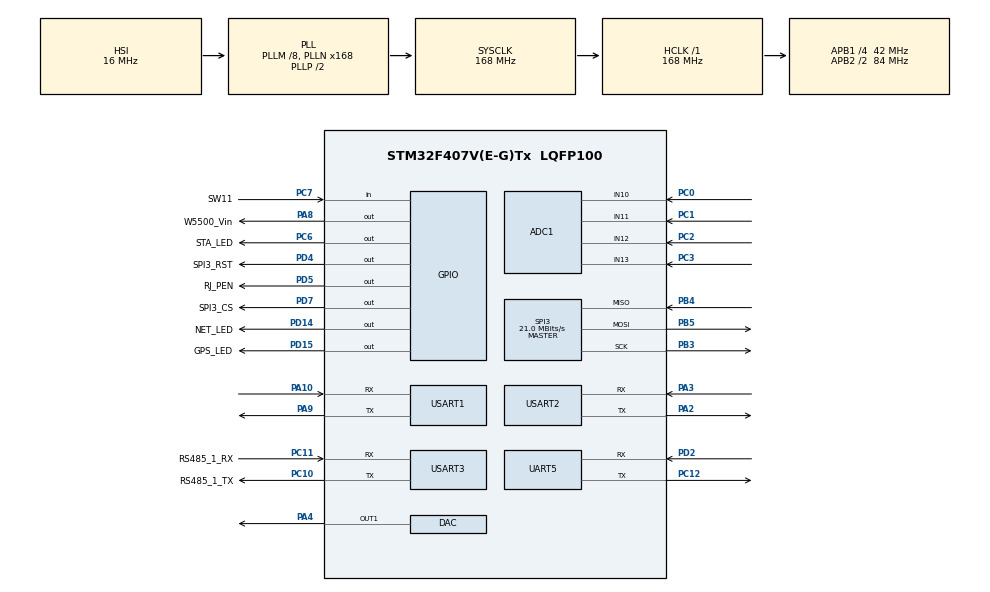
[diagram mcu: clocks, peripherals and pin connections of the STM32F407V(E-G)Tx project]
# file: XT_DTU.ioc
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ADC1.Channel-0\#ChannelRegularConversion=ADC_CHANNEL_10
ADC1.NbrOfConversionFlag=1
ADC1.Rank-0\#ChannelRegularConversion=1
ADC1.SamplingTime-0\#ChannelRegularConversion=ADC_SAMPLETIME_3CYCLES
ADC1.master=1
Dma.Request0=USART1_RX
Dma.Request1=USART1_TX
Dma.Request2=USART2_RX
Dma.Request3=USART2_TX
Dma.Request4=USART3_RX
Dma.Request5=UART5_RX
Dma.Request6=USART3_TX
Dma.UART5_RX.5.Direction=DMA_PERIPH_TO_MEMORY
Dma.UART5_RX.5.FIFOMode=DMA_FIFOMODE_DISABLE
Dma.UART5_RX.5.Instance=DMA1_Stream0
Dma.UART5_RX.5.MemDataAlignment=DMA_MDATAALIGN_BYTE
Dma.UART5_RX.5.MemInc=DMA_MINC_ENABLE
Dma.UART5_RX.5.Mode=DMA_NORMAL
Dma.UART5_RX.5.PeriphDataAlignment=DMA_PDATAALIGN_BYTE
Dma.UART5_RX.5.PeriphInc=DMA_PINC_DISABLE
Dma.UART5_RX.5.Priority=DMA_PRIORITY_LOW
Dma.USART1_RX.0.Direction=DMA_PERIPH_TO_MEMORY
Dma.USART1_RX.0.FIFOMode=DMA_FIFOMODE_DISABLE
Dma.USART1_RX.0.Instance=DMA2_Stream2
Dma.USART1_RX.0.MemDataAlignment=DMA_MDATAALIGN_BYTE
Dma.USART1_RX.0.MemInc=DMA_MINC_ENABLE
Dma.USART1_RX.0.Mode=DMA_NORMAL
Dma.USART1_RX.0.PeriphDataAlignment=DMA_PDATAALIGN_BYTE
Dma.USART1_RX.0.PeriphInc=DMA_PINC_DISABLE
Dma.USART1_RX.0.Priority=DMA_PRIORITY_LOW
Dma.USART1_TX.1.Direction=DMA_MEMORY_TO_PERIPH
Dma.USART1_TX.1.FIFOMode=DMA_FIFOMODE_DISABLE
Dma.USART1_TX.1.Instance=DMA2_Stream7
Dma.USART1_TX.1.MemDataAlignment=DMA_MDATAALIGN_BYTE
Dma.USART1_TX.1.MemInc=DMA_MINC_ENABLE
Dma.USART1_TX.1.Mode=DMA_NORMAL
Dma.USART1_TX.1.PeriphDataAlignment=DMA_PDATAALIGN_BYTE
Dma.USART1_TX.1.PeriphInc=DMA_PINC_DISABLE
Dma.USART1_TX.1.Priority=DMA_PRIORITY_LOW
Dma.USART2_RX.2.Direction=DMA_PERIPH_TO_MEMORY
Dma.USART2_RX.2.FIFOMode=DMA_FIFOMODE_DISABLE
Dma.USART2_RX.2.Instance=DMA1_Stream5
Dma.USART2_RX.2.MemDataAlignment=DMA_MDATAALIGN_BYTE
Dma.USART2_RX.2.MemInc=DMA_MINC_ENABLE
Dma.USART2_RX.2.Mode=DMA_NORMAL
Dma.USART2_RX.2.PeriphDataAlignment=DMA_PDATAALIGN_BYTE
Dma.USART2_RX.2.PeriphInc=DMA_PINC_DISABLE
Dma.USART2_RX.2.Priority=DMA_PRIORITY_LOW
Dma.USART2_TX.3.Direction=DMA_MEMORY_TO_PERIPH
Dma.USART2_TX.3.FIFOMode=DMA_FIFOMODE_DISABLE
Dma.USART2_TX.3.Instance=DMA1_Stream6
Dma.USART2_TX.3.MemDataAlignment=DMA_MDATAALIGN_BYTE
Dma.USART2_TX.3.MemInc=DMA_MINC_ENABLE
Dma.USART2_TX.3.Mode=DMA_NORMAL
Dma.USART2_TX.3.PeriphDataAlignment=DMA_PDATAALIGN_BYTE
Dma.USART2_TX.3.PeriphInc=DMA_PINC_DISABLE
Dma.USART2_TX.3.Priority=DMA_PRIORITY_LOW
Dma.USART3_RX.4.Direction=DMA_PERIPH_TO_MEMORY
Dma.USART3_RX.4.FIFOMode=DMA_FIFOMODE_DISABLE
Dma.USART3_RX.4.Instance=DMA1_Stream1
Dma.USART3_RX.4.MemDataAlignment=DMA_MDATAALIGN_BYTE
Dma.USART3_RX.4.MemInc=DMA_MINC_ENABLE
Dma.USART3_RX.4.Mode=DMA_NORMAL
Dma.USART3_RX.4.PeriphDataAlignment=DMA_PDATAALIGN_BYTE
Dma.USART3_RX.4.PeriphInc=DMA_PINC_DISABLE
Dma.USART3_RX.4.Priority=DMA_PRIORITY_LOW
Dma.USART3_TX.6.Direction=DMA_MEMORY_TO_PERIPH
Dma.USART3_TX.6.FIFOMode=DMA_FIFOMODE_DISABLE
Dma.USART3_TX.6.Instance=DMA1_Stream3
Dma.USART3_TX.6.MemDataAlignment=DMA_MDATAALIGN_BYTE
Dma.USART3_TX.6.MemInc=DMA_MINC_ENABLE
Dma.USART3_TX.6.Mode=DMA_NORMAL
Dma.USART3_TX.6.PeriphDataAlignment=DMA_PDATAALIGN_BYTE
Dma.USART3_TX.6.PeriphInc=DMA_PINC_DISABLE
Dma.USART3_TX.6.Priority=DMA_PRIORITY_LOW
FREERTOS.Tasks01=defaultTask,0,128,StartDefaultTask,Default,NULL,Dynamic,NULL,NULL;DataTask,-3,128,StartTask02,Default,NULL,Dynamic,NULL,NULL
Mcu.Family=STM32F4
Mcu.Name=STM32F407V(E-G)Tx
Mcu.Package=LQFP100
NVIC.DMA1_Stream0_IRQn=true\:5\:0\:false\:false\:true\:true\:false\:true\:true
NVIC.DMA1_Stream1_IRQn=true\:5\:0\:false\:false\:true\:true\:false\:true\:true
NVIC.DMA1_Stream3_IRQn=true\:5\:0\:false\:false\:true\:true\:false\:true\:true
NVIC.DMA1_Stream5_IRQn=true\:5\:0\:false\:false\:true\:true\:false\:true\:true
NVIC.DMA1_Stream6_IRQn=true\:5\:0\:false\:false\:true\:true\:false\:true\:true
NVIC.DMA2_Stream2_IRQn=true\:5\:0\:false\:false\:true\:true\:false\:true\:true
NVIC.DMA2_Stream7_IRQn=true\:5\:0\:false\:false\:true\:true\:false\:true\:true
NVIC.PriorityGroup=NVIC_PRIORITYGROUP_4
NVIC.SPI3_IRQn=true\:5\:0\:false\:false\:true\:true\:true\:true\:true
NVIC.TIM2_IRQn=true\:5\:0\:false\:false\:true\:true\:true\:true\:true
NVIC.TIM4_IRQn=true\:5\:0\:false\:false\:true\:true\:true\:true\:true
NVIC.UART5_IRQn=true\:5\:0\:false\:false\:true\:true\:true\:true\:true
NVIC.USART1_IRQn=true\:5\:0\:false\:false\:true\:true\:true\:true\:true
NVIC.USART2_IRQn=true\:5\:0\:false\:false\:true\:true\:true\:true\:true
NVIC.USART3_IRQn=true\:5\:0\:false\:false\:true\:true\:true\:true\:true
PA10.Mode=Asynchronous
PA10.Signal=USART1_RX
PA13.Mode=Serial_Wire
PA13.Signal=SYS_JTMS-SWDIO
PA14.Mode=Serial_Wire
PA14.Signal=SYS_JTCK-SWCLK
PA2.Mode=Asynchronous
PA2.Signal=USART2_TX
PA3.Mode=Asynchronous
PA3.Signal=USART2_RX
PA4.Signal=COMP_DAC1_group
PA8.GPIO_Label=W5500_Vin
PA8.Signal=GPIO_Output
PA9.Mode=Asynchronous
PA9.Signal=USART1_TX
PB3.Mode=Full_Duplex_Master
PB3.Signal=SPI3_SCK
PB4.Mode=Full_Duplex_Master
PB4.Signal=SPI3_MISO
PB5.Mode=Full_Duplex_Master
PB5.Signal=SPI3_MOSI
PC0.Signal=ADCx_IN10
PC1.Signal=ADCx_IN11
PC10.GPIO_Label=RS485_1_TX
PC10.Mode=Asynchronous
PC10.Signal=USART3_TX
PC11.GPIO_Label=RS485_1_RX
PC11.Mode=Asynchronous
PC11.Signal=USART3_RX
PC12.Mode=Asynchronous
PC12.Signal=UART5_TX
PC14-OSC32_IN.Mode=LSE-External-Oscillator
PC14-OSC32_IN.Signal=RCC_OSC32_IN
PC15-OSC32_OUT.Mode=LSE-External-Oscillator
PC15-OSC32_OUT.Signal=RCC_OSC32_OUT
PC2.Signal=ADCx_IN12
PC3.Signal=ADCx_IN13
PC6.GPIO_Label=STA_LED
PC6.Signal=GPIO_Output
PC7.GPIO_Label=SW11
PC7.Signal=GPIO_Input
PD14.GPIO_Label=NET_LED
PD14.Signal=GPIO_Output
PD15.GPIO_Label=GPS_LED
PD15.Signal=GPIO_Output
PD2.Mode=Asynchronous
PD2.Signal=UART5_RX
PD4.GPIO_Label=SPI3_RST
PD4.Signal=GPIO_Output
PD5.GPIO_Label=RJ_PEN
PD5.Signal=GPIO_Output
PD7.GPIO_Label=SPI3_CS
PD7.Signal=GPIO_Output
PH0-OSC_IN.Mode=HSE-External-Oscillator
PH0-OSC_IN.Signal=RCC_OSC_IN
PH1-OSC_OUT.Mode=HSE-External-Oscillator
PH1-OSC_OUT.Signal=RCC_OSC_OUT
ProjectManager.HeapSize=0x200
ProjectManager.StackSize=0x400
ProjectManager.TargetToolchain=MDK-ARM V5.32
RCC.48MHZClocksFreq_Value=84000000
RCC.AHBFreq_Value=168000000
RCC.APB1CLKDivider=RCC_HCLK_DIV4
RCC.APB1Freq_Value=42000000
RCC.APB1TimFreq_Value=84000000
RCC.APB2CLKDivider=RCC_HCLK_DIV2
RCC.APB2Freq_Value=84000000
RCC.APB2TimFreq_Value=168000000
RCC.CortexFreq_Value=168000000
RCC.HCLKFreq_Value=168000000
RCC.HSE_VALUE=25000000
RCC.HSI_VALUE=16000000
RCC.PLLM=8
RCC.PLLN=168
RCC.SYSCLKFreq_VALUE=168000000
RCC.SYSCLKSource=RCC_SYSCLKSOURCE_PLLCLK
RCC.VCOOutputFreq_Value=336000000
SH.ADCx_IN10.0=ADC1_IN10,IN10
SH.ADCx_IN11.0=ADC1_IN11,IN11
SH.ADCx_IN12.0=ADC1_IN12,IN12
SH.ADCx_IN13.0=ADC1_IN13,IN13
SH.COMP_DAC1_group.0=DAC_OUT1,DAC_OUT1
SPI3.BaudRatePrescaler=SPI_BAUDRATEPRESCALER_2
SPI3.CalculateBaudRate=21.0 MBits/s
SPI3.Direction=SPI_DIRECTION_2LINES
SPI3.Mode=SPI_MODE_MASTER
SPI3.VirtualType=VM_MASTER
TIM2.AutoReloadPreload=TIM_AUTORELOAD_PRELOAD_ENABLE
TIM2.Period=9999
TIM2.Prescaler=8399
TIM4.AutoReloadPreload=TIM_AUTORELOAD_PRELOAD_ENABLE
TIM4.Period=9999
TIM4.Prescaler=8399
UART5.VirtualMode=Asynchronous
USART1.VirtualMode=VM_ASYNC
USART2.VirtualMode=VM_ASYNC
USART3.VirtualMode=VM_ASYNC
VP_FREERTOS_VS_CMSIS_V1.Mode=CMSIS_V1
VP_TIM2_VS_ClockSourceINT.Mode=Internal
VP_TIM4_VS_ClockSourceINT.Mode=Internal
board=custom

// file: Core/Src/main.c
/* USER CODE BEGIN Header */
/**
  ******************************************************************************
  * @file           : main.c
  * @brief          : Main program body
  ******************************************************************************
  * @attention
  *
  * Copyright (c) 2023 STMicroelectronics.
  * All rights reserved.
  *
  * This software is licensed under terms that can be found in the LICENSE file
  * in the root directory of this software component.
  * If no LICENSE file comes with this software, it is provided AS-IS.
  *
  ******************************************************************************
  */
/* USER CODE END Header */
#include "main.h"
#include "cmsis_os.h"
#include "adc.h"
#include "dac.h"
#include "dma.h"
#include "spi.h"
#include "tim.h"
#include "usart.h"
#include "gpio.h"

/* USER CODE BEGIN Includes */
#include "wizchip_conf.h"
#include "board_config.h"
#include "socket.h"
#include "RS485.h"
#include "ztn_mqtt.h"
#include "modbus.h"
#include "ec800n.h"
#include "delay.h"
#include "xt_task.h"
uint8_t RS485_2_BUFF[MAX_NUMBER];
uint8_t Uart_4g_End;
uint8_t RECV_4G_BUFF[512];
Encode_Data Data_485;
decode_data Decode_485data;
uint8_t USART3_RX_END_FLAG;
/* USER CODE END Includes */

void SystemClock_Config(void);
void MX_FREERTOS_Init(void);

/* USER CODE BEGIN 0 */
void W5500_Tcp_client(void);
void DNS_Test(void);
uint8_t web_wait_flag;
uint8_t modbus_send_buf[9][8] = {{0x01 , 0x03 , 0x00 , 0x00 , 0x00 , 0x0F , 0x05 , 0xCE},
																	{0x01 , 0x03 , 0x01 , 0x01 , 0x00 , 0x0A , 0x95 , 0xF1},
																	{0x01 , 0x03 , 0x02 , 0x01 , 0x00 , 0x17 , 0x55 , 0xBC},
																	{0x01 , 0x03 , 0x03 , 0x01 , 0x00 , 0x0F , 0x54 , 0x4A},
																	{0x01 , 0x03 , 0x04 , 0x01 , 0x00 , 0x10 , 0x14 , 0xF6},
																	{0x01 , 0x03 , 0x07 , 0x01 , 0x00 , 0x06 , 0x95 , 0x7C},
																	{0x01 , 0x03 , 0x08 , 0x01 , 0x00 , 0x12 , 0x96 , 0x67},
																	{0x01 , 0x03 , 0x09 , 0x01 , 0x00 , 0x0C , 0x17 , 0x93},
																	{0x01 , 0x03 , 0x0A , 0x01 , 0x00 , 0xAC , 0x17 , 0xAF}};
int tim_count = 0;
/* USER CODE END 0 */

int main(void)
{

  /* MCU Configuration--------------------------------------------------------*/

  /* Reset of all peripherals, Initializes the Flash interface and the Systick. */
  HAL_Init();

  /* Configure the system clock */
  SystemClock_Config();

  /* Initialize all configured peripherals */
  MX_GPIO_Init();
  MX_DMA_Init();
  MX_SPI3_Init();
  MX_USART1_UART_Init();
  MX_USART2_UART_Init();
  MX_USART3_UART_Init();
  MX_UART5_Init();
  MX_ADC1_Init();
  MX_DAC_Init();
  MX_TIM2_Init();
  MX_TIM4_Init();
  /* USER CODE BEGIN 2 */
	USART3_RX_END_FLAG = 1;
	web_wait_flag = 0;
	if (isFirstBoot())
  {
		printf("first boot\r\n");
  }
	Board_config_init();
	Config_Printf();
	HAL_UART_Receive_IT(&huart3, RS485_2_BUFF , sizeof(RS485_2_BUFF));
	HAL_UART_Receive_IT(&huart2, RECV_4G_BUFF , sizeof(RECV_4G_BUFF));

	Data_init();
	xt_task_init();
  /* USER CODE END 2 */

  /* Call init function for freertos objects (in freertos.c) */
  MX_FREERTOS_Init();

  /* Start scheduler */
  osKernelStart();

  /* We should never get here as control is now taken by the scheduler */
  /* Infinite loop */
  while (1)
  {

  }
}

void SystemClock_Config(void)
{
  RCC_OscInitTypeDef RCC_OscInitStruct = {0};
  RCC_ClkInitTypeDef RCC_ClkInitStruct = {0};

  /** Configure the main internal regulator output voltage
  */
  __HAL_RCC_PWR_CLK_ENABLE();
  __HAL_PWR_VOLTAGESCALING_CONFIG(PWR_REGULATOR_VOLTAGE_SCALE1);

  /** Initializes the RCC Oscillators according to the specified parameters
  * in the RCC_OscInitTypeDef structure.
  */
  RCC_OscInitStruct.OscillatorType = RCC_OSCILLATORTYPE_HSI;
  RCC_OscInitStruct.HSIState = RCC_HSI_ON;
  RCC_OscInitStruct.HSICalibrationValue = RCC_HSICALIBRATION_DEFAULT;
  RCC_OscInitStruct.PLL.PLLState = RCC_PLL_ON;
  RCC_OscInitStruct.PLL.PLLSource = RCC_PLLSOURCE_HSI;
  RCC_OscInitStruct.PLL.PLLM = 8;
  RCC_OscInitStruct.PLL.PLLN = 168;
  RCC_OscInitStruct.PLL.PLLP = RCC_PLLP_DIV2;
  RCC_OscInitStruct.PLL.PLLQ = 4;
  if (HAL_RCC_OscConfig(&RCC_OscInitStruct) != HAL_OK)
  {
    Error_Handler();
  }

  /** Initializes the CPU, AHB and APB buses clocks
  */
  RCC_ClkInitStruct.ClockType = RCC_CLOCKTYPE_HCLK|RCC_CLOCKTYPE_SYSCLK
                              |RCC_CLOCKTYPE_PCLK1|RCC_CLOCKTYPE_PCLK2;
  RCC_ClkInitStruct.SYSCLKSource = RCC_SYSCLKSOURCE_PLLCLK;
  RCC_ClkInitStruct.AHBCLKDivider = RCC_SYSCLK_DIV1;
  RCC_ClkInitStruct.APB1CLKDivider = RCC_HCLK_DIV4;
  RCC_ClkInitStruct.APB2CLKDivider = RCC_HCLK_DIV2;

  if (HAL_RCC_ClockConfig(&RCC_ClkInitStruct, FLASH_LATENCY_5) != HAL_OK)
  {
    Error_Handler();
  }
}

/* USER CODE BEGIN 4 */

void HAL_TIM_PeriodElapsedCallback(TIM_HandleTypeDef *htim){
	if (htim->Instance == htim2.Instance) {
		DataCollect();
	}
	else if(htim->Instance == htim4.Instance){
		ZTN_MQTT_ENCODE();
	}
}

void HAL_UART_RxCpltCallback(UART_HandleTypeDef *huart)
{
	if(huart->Instance == USART3)
	{
		//__HAL_UART_CLEAR_IDLEFLAG(&huart3);
		ModbusParse(RS485_2_BUFF,modbus_send_buf[tim_count]);
		memset(RS485_2_BUFF,0,sizeof(RS485_2_BUFF));
		USART3_RX_END_FLAG = 1;
	}
	else if(huart->Instance == USART2){
		printf("%s\r\n",RECV_4G_BUFF);
		Uart_4g_End = 1;
	}
}
/* USER CODE END 4 */

void Error_Handler(void)
{
  __disable_irq();
  while (1)
  {
  }
}

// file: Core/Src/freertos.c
/* USER CODE BEGIN Header */
/**
  ******************************************************************************
  * File Name          : freertos.c
  * Description        : Code for freertos applications
  ******************************************************************************
  * @attention
  *
  * Copyright (c) 2023 STMicroelectronics.
  * All rights reserved.
  *
  * This software is licensed under terms that can be found in the LICENSE file
  * in the root directory of this software component.
  * If no LICENSE file comes with this software, it is provided AS-IS.
  *
  ******************************************************************************
  */
/* USER CODE END Header */

#include "FreeRTOS.h"
#include "task.h"
#include "main.h"
#include "cmsis_os.h"

/* USER CODE BEGIN Includes */
#include "stdio.h"
#include "usart.h"
#include "board_config_set.h"
#include "wizchip_conf.h"
#include "board_config.h"
#include "socket.h"
#include "dns.h"
#include "mqtt_api.h"
#include "w5500api.h"
#include "utility.h"
#include "dhcp.h"
#include "ztn_mqtt.h"
#include "stdlib.h"
#include "httputil.h"
#include "cJSON.h"
#include "RS485.h"
#include "delay.h"
#include "ec800n.h"
#include "tim.h"
/* USER CODE END Includes */

/* USER CODE BEGIN PTD */
//static int Configmode(void);
//int MQTT_ETH_MODE(void);
//int MQTT_4G_MODE(void);
//void W5500_Tcp_client(void);
//uint8_t my_ip[4] = {10,192,178,87};
//void init_Net(void);
//uint8_t cnt_flag=0,sub_flag=0,pub_flag=0;
//uint8_t mpptbuf[8] = {0x01,0x03,0x00,0x00,0x0A,0xAC,0x43,0x17};
//uint16_t time=0;
//#define MQTT_SOCK 5
//uint8_t ZTN_MQTT_ENCODE(void);
/* USER CODE END PTD */

osThreadId defaultTaskHandle;
osThreadId DataTaskHandle;

void StartDefaultTask(void const * argument);
void StartTask02(void const * argument);

void MX_FREERTOS_Init(void); /* (MISRA C 2004 rule 8.1) */

/* GetIdleTaskMemory prototype (linked to static allocation support) */
void vApplicationGetIdleTaskMemory( StaticTask_t **ppxIdleTaskTCBBuffer, StackType_t **ppxIdleTaskStackBuffer, uint32_t *pulIdleTaskStackSize );

/* USER CODE BEGIN GET_IDLE_TASK_MEMORY */
static StaticTask_t xIdleTaskTCBBuffer;
static StackType_t xIdleStack[configMINIMAL_STACK_SIZE];

void vApplicationGetIdleTaskMemory( StaticTask_t **ppxIdleTaskTCBBuffer, StackType_t **ppxIdleTaskStackBuffer, uint32_t *pulIdleTaskStackSize )
{
  *ppxIdleTaskTCBBuffer = &xIdleTaskTCBBuffer;
  *ppxIdleTaskStackBuffer = &xIdleStack[0];
  *pulIdleTaskStackSize = configMINIMAL_STACK_SIZE;
  /* place for user code */
}
/* USER CODE END GET_IDLE_TASK_MEMORY */

void MX_FREERTOS_Init(void) {
  /* USER CODE BEGIN Init */
	//Configmode();

  /* USER CODE END Init */

  /* Create the thread(s) */
  /* definition and creation of defaultTask */
  osThreadDef(defaultTask, StartDefaultTask, osPriorityNormal, 0, 128);
  defaultTaskHandle = osThreadCreate(osThread(defaultTask), NULL);

  /* definition and creation of DataTask */
  osThreadDef(DataTask, StartTask02, osPriorityIdle, 0, 128);
  DataTaskHandle = osThreadCreate(osThread(DataTask), NULL);

}

void StartDefaultTask(void const * argument)
{
  /* USER CODE BEGIN StartDefaultTask */

//			printf("mode:%d\r\n",XT_config.Net_Mode);
//			while(1){
//					switch(XT_config.Net_Mode){
//						case 1:W5500_Tcp_client();break;
//						case 3:MQTT_ETH_MODE();break;
//						case 4:MQTT_4G_MODE();break;
//						default:break;
//					}
//			}
//
  /* Infinite loop */
  /* USER CODE END StartDefaultTask */
}

void StartTask02(void const * argument)
{
  /* USER CODE BEGIN StartTask02 */
  /* Infinite loop */

	//	delay_ms(10);

  /* USER CODE END StartTask02 */
}

/* USER CODE BEGIN Application */

//int MQTT_ETH_MODE(void){
//
////		int time_485 = 0;
////		init_Net();
////		printf("init_Net OK\r\n");
////		//HAL_UART_Transmit(&huart3, modbus_send_buf[tim_count],8,100);
////		while(1){
////		do_https();
////		cnt_flag=do_mqtt(MQTT_SOCK,XT_config.Mqtt_client_Config.Sip,XT_config.Mqtt_client_Config.SPort,XT_config.Mqtt_client_Config.LPort);
////		if(cnt_flag==0){sub_flag=0;pub_flag=0;time=0;}
////		if(cnt_flag&&sub_flag==0)sub_flag=!subscribMqtt(MQTT_SOCK,XT_config.Mqtt_client_Config.subTopic);
////		if(cnt_flag&&sub_flag&&pub_flag==0){
////			pub_flag=!publishMqtt(MQTT_SOCK,XT_config.Mqtt_client_Config.pubTopic,"hello mqtt");
////		}
////		if(cnt_flag){time++;}
////		if(time==1500){
////			time=0;
////			pingMqtt(MQTT_SOCK);
////			HAL_UART_Transmit(&huart3, modbus_send_buf[tim_count],8,100);
////			while(1){
////				HAL_UART_Receive_DMA(&huart3, RS485_2_BUFF , sizeof(RS485_2_BUFF));
////				time_485++;
////				if(USART3_RX_END_FLAG == 1){
////					tim_count++;
////					if(tim_count >= 3 ){
////						tim_count = 0;
////					}
////					break;
////				}
////				else if(time_485 > 3000){
////					break;
////				}
////				delay_ms(10);
////			}
////		}
////		if(USART3_RX_END_FLAG == 1){
////			ZTN_MQTT_ENCODE();
////			USART3_RX_END_FLAG = 0;
////		}
////		delay_ms(10);
////	}
////	return 1;
//}

//int MQTT_4G_MODE(void){
//	static int FLAG_4G = 0;
//	static int timeout = 2500;
//	static int mqtt_tim = 0;
//	tim_count = 0;
//	timeout++;
//	if(FLAG_4G == 0 ){
//	HAL_GPIO_WritePin(EC600N_PWR_GPIO_Port,EC600N_PWR_Pin,GPIO_PIN_SET);
//	printf("4G UP\r\n");
//	FLAG_4G = 1;
//  ec800n_uart_send("AT\r\n",sizeof("AT\r\n"),"AT");
//	delay_ms(5000);
//	ec800n_uart_send("AT+CPIN?\r\n",sizeof("AT+CPIN?\r\n"),"READY");
//	delay_ms(5000);
//	ec800n_uart_send("AT+CSQ\r\n",sizeof("AT+CSQ\r\n"),"CSQ");
//	delay_ms(5000);
//	ec800n_uart_send("AT+CREG?\r\n",sizeof("AT+CREG?\r\n"),"CREG");
//	delay_ms(5000);
//	ec800n_uart_send("AT+QIACT=1\r\n",sizeof("AT+QIACT=1\r\n"),"OK");
//	delay_ms(5000);
//	ec800n_uart_send("AT+QMTCFG=\"qmtping\",0,30\r\n",sizeof("AT+QMTCFG=\"qmtping\",0,30\r\n"),"OK");
//	delay_ms(5000);
//	ec800n_uart_send("AT+QMTCFG=\"recv/mode\",0,0,1\r\n",sizeof("AT+QMTCFG=\"recv/mode\",0,0,1\r\n"),"OK");
//	delay_ms(5000);
//	ec800n_uart_send("AT+QMTOPEN=0,\"dt.ztn-tech.com\",1883\r\n",sizeof("AT+QMTOPEN=0,\"dt.ztn-tech.com\",1883"),"+QMTOPEN");
//	delay_ms(5000);
//	ec800n_uart_send("AT+QMTCONN=0,\"SolarTestT00011_4G\",\"SolarTest_22AB562F\",\"E4E41CFF8C884B0C5B2DBB9A015BE1B6\"\r\n",sizeof("AT+QMTCONN=0,\"SolarTestT00011_4G\",\"SolarTest_22AB562F\",\"E4E41CFF8C884B0C5B2DBB9A015BE1B6\"\r\n"),"+QMTCONN");
//	delay_ms(5000);
//	ec800n_uart_send("AT+QMTSUB=0,1,\"/ztn/SolarTestT00011_4G/get\",0\r\n",sizeof("AT+QMTSUB=0,1,\"/ztn/SolarTestT00011_4G/get\",0\r\n"),"OK");
//	}
//	if(timeout > 4000){
//		timeout = 0;
//		HAL_UART_Transmit(&huart3, modbus_send_buf[0],8,1000);
//		while(1){
//				HAL_UART_Receive_DMA(&huart3, RS485_2_BUFF , sizeof(RS485_2_BUFF));
//				if(USART3_RX_END_FLAG == 1){
//					cJSON* ZTN_OBJECT = cJSON_CreateObject();
//					cJSON_AddStringToObject(ZTN_OBJECT, "dCore","SolarTestT00011_4G");
//					cJSON_AddStringToObject(ZTN_OBJECT, "v","dd_1");
//					cJSON_AddNumberToObject(ZTN_OBJECT, "r", 1);
//					cJSON* ZTN_EXTERN_OBJECT = cJSON_CreateObject();
//					cJSON_AddStringToObject(ZTN_EXTERN_OBJECT, "IMEI","LZH");
//					cJSON_AddStringToObject(ZTN_EXTERN_OBJECT, "SIM","LZH");
//					cJSON_AddStringToObject(ZTN_EXTERN_OBJECT, "SV","DTU1.01");
//					cJSON_AddStringToObject(ZTN_EXTERN_OBJECT, "HV","XTDTU");
//					cJSON_AddItemToObject(ZTN_OBJECT, "extend", ZTN_EXTERN_OBJECT);
//					cJSON* ZTN_sum_OBJECT = cJSON_CreateObject();
//					cJSON_AddNumberToObject(ZTN_sum_OBJECT, "port", 1);
//					cJSON* ZTN_val_OBJECT = cJSON_CreateObject();
//					switch(mqtt_tim){
//						case 0:
//						cJSON_AddNumberToObject(ZTN_val_OBJECT, "charge_status", ztn_data.ztn[100] );
//						cJSON_AddNumberToObject(ZTN_val_OBJECT, "V_power", ztn_data.ztn[101]);
//						cJSON_AddNumberToObject(ZTN_val_OBJECT, "V_bat", ztn_data.ztn[102]);
//						cJSON_AddNumberToObject(ZTN_val_OBJECT, "I_charge", ztn_data.ztn[103]);
//						mqtt_tim++;
//						break;
//						case 1:
//						cJSON_AddNumberToObject(ZTN_val_OBJECT, "V_output", ztn_data.ztn[104]);
//						cJSON_AddNumberToObject(ZTN_val_OBJECT, "V_load", ztn_data.ztn[105]);
//						cJSON_AddNumberToObject(ZTN_val_OBJECT, "I_load", ztn_data.ztn[106]);
//						cJSON_AddNumberToObject(ZTN_val_OBJECT, "power_charge", ztn_data.ztn[107]);
//						mqtt_tim++;
//						break;
//						case 2:
//						cJSON_AddNumberToObject(ZTN_val_OBJECT, "power_load", ztn_data.ztn[108]);
//						cJSON_AddNumberToObject(ZTN_val_OBJECT, "T_bat", ztn_data.ztn[109]);
//						cJSON_AddNumberToObject(ZTN_val_OBJECT, "T_inside", ztn_data.ztn[110]);
//						mqtt_tim++;
//						break;
//						case 3:
//						cJSON_AddNumberToObject(ZTN_val_OBJECT, "C02", (ztn_data.ztn[111] << 8 | ztn_data.ztn[112]));
//						mqtt_tim++;
//						break;
//						case 4:
//						cJSON_AddNumberToObject(ZTN_val_OBJECT, "Fault_codes", ztn_data.ztn[113]);
//						cJSON_AddNumberToObject(ZTN_val_OBJECT, "System", ztn_data.ztn[114]);
//						cJSON_AddNumberToObject(ZTN_val_OBJECT, "Surplus", ztn_data.surplus);
//						cJSON_AddStringToObject(ZTN_val_OBJECT, "Signal","16");
//						mqtt_tim=0;
//						break;
//						default:break;
//					}
//					cJSON_AddItemToObject(ZTN_sum_OBJECT, "val", ZTN_val_OBJECT);
//					cJSON* ZTN_sDATA_OBJECT = cJSON_CreateArray();
//					cJSON_AddItemToArray(ZTN_sDATA_OBJECT, ZTN_sum_OBJECT);
//					cJSON_AddItemToObject(ZTN_OBJECT,"sData",ZTN_sDATA_OBJECT);
//					char* my_str = cJSON_Print(ZTN_OBJECT);
//					printf("my_str:%s\r\n",my_str);
//					delay_ms(400);
//					char at_buf[100]={0};
//					char mqtt_buf[600]={0};
//					sprintf(at_buf,"AT+QMTPUBEX=0,0,0,0,\"/ztn/SolarTestT00011_4G/update\",%d\r\n",(strlen(my_str)));
//					HAL_UART_Transmit(&huart2, (unsigned char*)at_buf,strlen(at_buf),1000);
//					delay_ms(500);
//					sprintf(mqtt_buf,"%s\r\n\r\n",my_str);
//					printf("mqtt_buf;%d\r\n",strlen(mqtt_buf));
//					HAL_UART_Transmit(&huart2, (unsigned char*)mqtt_buf,strlen(mqtt_buf),1000);
//					free(my_str);
//					cJSON_Delete(ZTN_OBJECT);
//					USART3_RX_END_FLAG = 0;
//					break;
//				}
//				delay_ms(10);
//			}
//	}
//
//	return 1;
//}

//static int Configmode(void){
//
//		printf("SW11:%d\r\n",HAL_GPIO_ReadPin(GPIOC,GPIO_PIN_7));
//		printf("SW12:%d\r\n",HAL_GPIO_ReadPin(GPIOC,GPIO_PIN_8));
//		printf("SW13:%d\r\n",HAL_GPIO_ReadPin(GPIOC,GPIO_PIN_9));
//
//		if(HAL_GPIO_ReadPin(GPIOC,GPIO_PIN_9) == GPIO_PIN_SET){
//			 printf("welcome to config mode............\r\n");
//			 board_config_set();
//		}
//		else{
//			printf("welcome to normal mode............\r\n");
//			return 0;
//		}
//		return 1;
//}

//void W5500_RESET(void);
//void put_defaultNet(void);
//void init_Net(void){
//	uint8_t try_times=0;
//	W5500_ChipInit();
//	printf("w5500 init success\r\n");
////	put_defaultNet();
////	printf("put success\r\n");
//// 	while(!do_dns((uint8_t *)"www.baidu.com"));
////	init_dhcp_client();
////	printf("dhcp init success\r\n");
////	while(check_DHCP_state(SOCK_DHCP)!=DHCP_RET_UPDATE){
////			try_times++;
////			if(try_times==255){							//��ʱ ����оƬ
////				W5500_RESET();
////				init_dhcp_client();
////				try_times=0;
////			}
////			delay_ms(10);
////		}
////	while(!set_Network());
//}

//int ec800n_uart_send(char* tx_buf, uint16_t len ,char* rx_buf){
//	HAL_UART_Transmit(&huart2, (uint8_t*)tx_buf, len,1000);
//	return 1;
//	while(1){
//		HAL_UART_Receive_DMA(&huart2,RECV_4G_BUFF,sizeof(RECV_4G_BUFF));
//		if(Uart_4g_End == 1){
//			if(strstr((char*)RECV_4G_BUFF,rx_buf) != NULL){
//				Uart_4g_End = 0;
//				break;
//			}
//		}
//		delay_ms(20);
//	}
//	return 1;
//}

/* USER CODE END Application */
